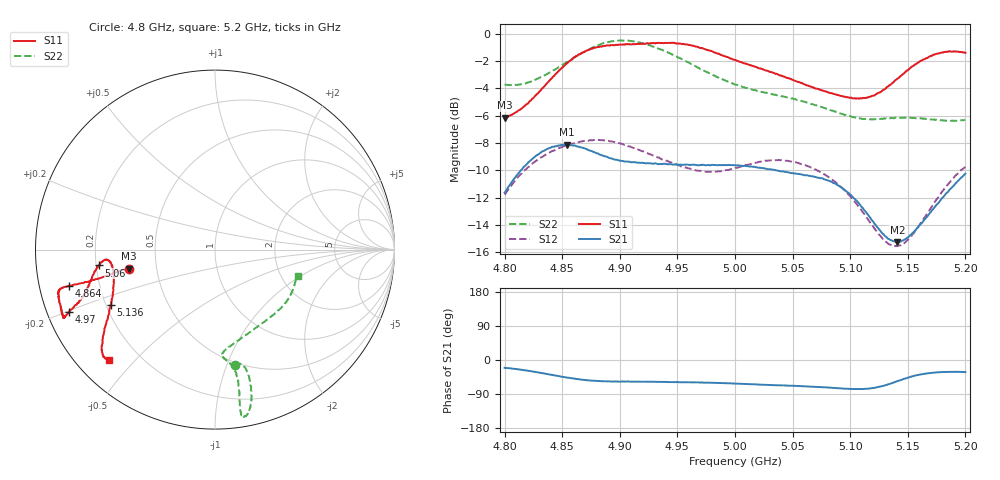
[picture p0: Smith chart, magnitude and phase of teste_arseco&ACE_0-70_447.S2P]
! Network Analyzer HP8722D
! Hewlett-Packard
! Data name: Linha & Wilkinson
! Saver's name: Rodrigo Anjos
! Comments: Teste da utilização de aquisição
! continua pelo VNA HP8722D
! Time and date: 8/5/2025 16:29
!  Frequency  S11  S21  S12  S22
# HZ  S  MA R 50
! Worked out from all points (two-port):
!   401 points, 4.8 GHz to 5.2 GHz, reference 50 ohm
!   highest |S21| = -8.13 dB at 4.854 GHz (marker M1); lowest = -15.2 dB at 5.141 GHz (marker M2)
!   |S21| within 3 dB of the highest: 4.804 GHz to 5.09 GHz (286.1 MHz wide, 5.78 % of centre); 5.189745 GHz to end of sweep
!   lowest |S11| = -6.1 dB at 4.8 GHz (marker M3), VSWR 2.94, Z = 17.2 - j4.86 ohm
!   |S11| at or under -10 dB: nowhere
!   |S22| runs from -6.4 to -0.5 dB; largest |S21 - S12| = 0.62
!   S11 on the Smith chart (normalised r, x): 4.8 GHz: 0.34, -0.10; 4.864 GHz: 0.09, -0.12; 4.97 GHz: 0.06, -0.20; 5.06 GHz: 0.21, -0.07; 5.136 GHz: 0.22, -0.24; 5.2 GHz: 0.10, -0.42
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4.8e9  0.4928 -167.5  0.2619 -20.7  0.2577 -141.8  0.652 -80.2
4.826e9  0.589 -166.8  0.3535 -31.2  0.3391 -145.9  0.6762 -75.9
4.854e9  0.7786 -165.9  0.3922 -46.3  0.3908 -151.0  0.7873 -75.2
4.864e9  0.8383 -166.0  0.3864 -50.7  0.4007 -152.4  0.8337 -75.9
4.867e9  0.8513 -166.0  0.3836 -52.1  0.4033 -153.0  0.849 -76.1
4.898e9  0.9088 -163.2  0.3448 -56.8  0.3985 -157.0  0.9424 -79.5
4.914e9  0.9166 -159.9  0.3378 -56.9  0.3793 -157.6  0.9353 -80.9
4.934e9  0.926 -156.6  0.3333 -57.9  0.3525 -156.0  0.8792 -81.0
4.97e9  0.8863 -156.8  0.3311 -59.5  0.3151 -147.2  0.7419 -79.9
5e9  0.8017 -159.5  0.33 -62.2  0.3224 -137.7  0.6516 -81.7
5.036e9  0.7133 -166.2  0.3161 -66.6  0.3445 -135.2  0.596 -86.0
5.06e9  0.6534 -172.2  0.3031 -69.1  0.331 -137.1  0.5641 -84.3
5.067e9  0.6375 -173.5  0.301 -70.1  0.323 -137.8  0.5527 -82.6
5.083e9  0.6058 -174.9  0.2877 -73.1  0.2951 -139.2  0.5244 -76.4
5.101e9  0.5836 -171.2  0.2561 -76.5  0.251 -139.4  0.4966 -65.9
5.116e9  0.5867 -164.6  0.216 -75.6  0.2076 -135.2  0.4871 -55.0
5.134e9  0.6475 -153.3  0.1769 -63.4  0.1693 -118.8  0.4901 -42.9
5.136e9  0.6576 -152.1  0.1753 -61.3  0.1676 -116.3  0.4912 -41.6
5.141e9  0.6844 -149.4  0.173 -55.7  0.1669 -109.7  0.4929 -38.7
5.154e9  0.7603 -144.2  0.1865 -43.2  0.1842 -93.8  0.4911 -32.2
5.173e9  0.839 -138.8  0.231 -33.3  0.2405 -80.8  0.4852 -24.2
5.2e9  0.8509 -133.7  0.3074 -31.9  0.3255 -77.6  0.483 -17.6
